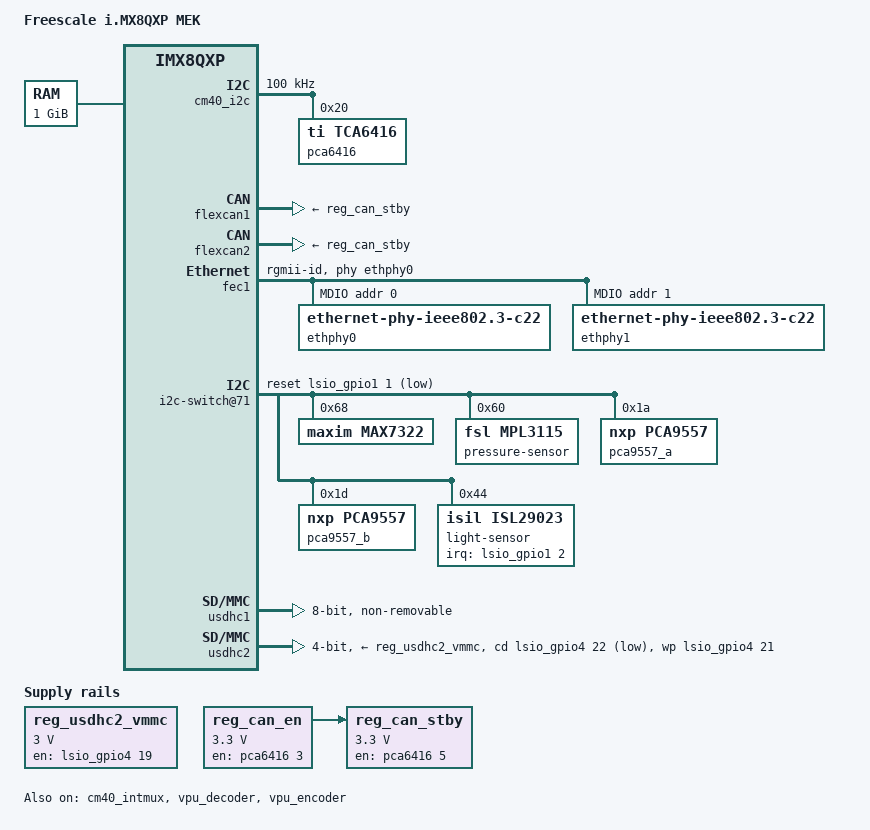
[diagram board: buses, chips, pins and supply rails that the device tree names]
// SPDX-License-Identifier: GPL-2.0+
/*
 * Copyright 2017~2018 NXP
 */

/dts-v1/;

#include "imx8qxp.dtsi"

/ {
	model = "Freescale i.MX8QXP MEK";
	compatible = "fsl,imx8qxp-mek", "fsl,imx8qxp";

	chosen {
		stdout-path = &adma_lpuart0;
	};

	memory@80000000 {
		device_type = "memory";
		reg = <0x00000000 0x80000000 0 0x40000000>;
	};

	reserved-memory {
		#address-cells = <2>;
		#size-cells = <2>;
		ranges;

		/*
		* reserved-memory layout
		* 0x88000000 ~ 0x8fffffff is reserved for M4
		* Shouldn't be used at A core and Linux side.
		*
		*/
		decoder_boot: decoder-boot@84000000 {
			reg = <0 0x84000000 0 0x2000000>;
			no-map;
		};

		encoder_boot: encoder-boot@86000000 {
			reg = <0 0x86000000 0 0x200000>;
			no-map;
		};

		decoder_rpc: decoder-rpc@0x92000000 {
			reg = <0 0x92000000 0 0x200000>;
			no-map;
		};

		encoder_rpc: encoder-rpc@0x92200000 {
			reg = <0 0x92200000 0 0x200000>;
			no-map;
		};
		/* global autoconfigured region for contiguous allocations */
		linux,cma {
			compatible = "shared-dma-pool";
			reusable;
			size = <0 0x3c000000>;
			alloc-ranges = <0 0x96000000 0 0x3c000000>;
			linux,cma-default;
		};
	};

	reg_usdhc2_vmmc: usdhc2-vmmc {
		compatible = "regulator-fixed";
		regulator-name = "SD1_SPWR";
		regulator-min-microvolt = <3000000>;
		regulator-max-microvolt = <3000000>;
		gpio = <&lsio_gpio4 19 GPIO_ACTIVE_HIGH>;
		enable-active-high;
	};

	reg_can_en: regulator-can-en {
		compatible = "regulator-fixed";
		regulator-name = "can-en";
		regulator-min-microvolt = <3300000>;
		regulator-max-microvolt = <3300000>;
		gpio = <&pca6416 3 GPIO_ACTIVE_HIGH>;
		enable-active-high;
	};

	reg_can_stby: regulator-can-stby {
		compatible = "regulator-fixed";
		regulator-name = "can-stby";
		regulator-min-microvolt = <3300000>;
		regulator-max-microvolt = <3300000>;
		gpio = <&pca6416 5 GPIO_ACTIVE_HIGH>;
		enable-active-high;
		vin-supply = <&reg_can_en>;
	};
};

&cm40_i2c {
	#address-cells = <1>;
	#size-cells = <0>;
	clock-frequency = <100000>;
	pinctrl-names = "default";
	pinctrl-0 = <&pinctrl_cm40_i2c>;
	status = "okay";

	pca6416: gpio@20 {
		compatible = "ti,tca6416";
		reg = <0x20>;
		gpio-controller;
		#gpio-cells = <2>;
	};
};

&cm40_intmux {
	status = "okay";
};

&adma_lpuart0 {
	pinctrl-names = "default";
	pinctrl-0 = <&pinctrl_lpuart0>;
	status = "okay";
};

&flexcan1 {
	pinctrl-names = "default";
	pinctrl-0 = <&pinctrl_flexcan1>;
	xceiver-supply = <&reg_can_stby>;
	status = "okay";
};

&flexcan2 {
	pinctrl-names = "default";
	pinctrl-0 = <&pinctrl_flexcan2>;
	xceiver-supply = <&reg_can_stby>;
	status = "okay";
};

&fec1 {
	pinctrl-names = "default";
	pinctrl-0 = <&pinctrl_fec1>;
	phy-mode = "rgmii-id";
	phy-handle = <&ethphy0>;
	fsl,magic-packet;
	status = "okay";

	mdio {
		#address-cells = <1>;
		#size-cells = <0>;

		ethphy0: ethernet-phy@0 {
			compatible = "ethernet-phy-ieee802.3-c22";
			reg = <0>;
		};

		ethphy1: ethernet-phy@1 {
			compatible = "ethernet-phy-ieee802.3-c22";
			reg = <1>;
		};
	};
};

&adma_i2c1 {
	#address-cells = <1>;
	#size-cells = <0>;
	clock-frequency = <100000>;
	pinctrl-names = "default";
	pinctrl-0 = <&pinctrl_lpi2c1 &pinctrl_ioexp_rst>;
	status = "okay";

	i2c-switch@71 {
		compatible = "nxp,pca9646", "nxp,pca9546";
		#address-cells = <1>;
		#size-cells = <0>;
		reg = <0x71>;
		reset-gpios = <&lsio_gpio1 1 GPIO_ACTIVE_LOW>;

		i2c@0 {
			#address-cells = <1>;
			#size-cells = <0>;
			reg = <0>;

			max7322: gpio@68 {
				compatible = "maxim,max7322";
				reg = <0x68>;
				gpio-controller;
				#gpio-cells = <2>;
			};
		};

		i2c@1 {
			#address-cells = <1>;
			#size-cells = <0>;
			reg = <1>;
		};

		i2c@2 {
			#address-cells = <1>;
			#size-cells = <0>;
			reg = <2>;

			pressure-sensor@60 {
				compatible = "fsl,mpl3115";
				reg = <0x60>;
			};
		};

		i2c@3 {
			#address-cells = <1>;
			#size-cells = <0>;
			reg = <3>;

			pca9557_a: gpio@1a {
				compatible = "nxp,pca9557";
				reg = <0x1a>;
				gpio-controller;
				#gpio-cells = <2>;
			};

			pca9557_b: gpio@1d {
				compatible = "nxp,pca9557";
				reg = <0x1d>;
				gpio-controller;
				#gpio-cells = <2>;
			};

			light-sensor@44 {
				pinctrl-names = "default";
				pinctrl-0 = <&pinctrl_isl29023>;
				compatible = "isil,isl29023";
				reg = <0x44>;
				interrupt-parent = <&lsio_gpio1>;
				interrupts = <2 IRQ_TYPE_EDGE_FALLING>;
			};
		};
	};
};

&usdhc1 {
	pinctrl-names = "default";
	pinctrl-0 = <&pinctrl_usdhc1>;
	bus-width = <8>;
	no-sd;
	no-sdio;
	non-removable;
	status = "okay";
};

&usdhc2 {
	pinctrl-names = "default";
	pinctrl-0 = <&pinctrl_usdhc2>;
	bus-width = <4>;
	vmmc-supply = <&reg_usdhc2_vmmc>;
	cd-gpios = <&lsio_gpio4 22 GPIO_ACTIVE_LOW>;
	wp-gpios = <&lsio_gpio4 21 GPIO_ACTIVE_HIGH>;
	status = "okay";
};

&vpu_decoder {
	boot-region = <&decoder_boot>;
	rpc-region = <&decoder_rpc>;
	reg-csr = <0x2d040000>;
	core_type = <1>;
	status = "okay";
};

&vpu_encoder {
	boot-region = <&encoder_boot>;
	rpc-region = <&encoder_rpc>;
	reg-rpc-system = <0x40000000>;
	resolution-max = <1920 1080>;
	fps-max = <120>;
	status = "okay";

	core0@1020000 {
		compatible = "fsl,imx8-mu1-vpu-m0";
		reg = <0x1020000 0x20000>;
		reg-csr = <0x1050000 0x10000>;
		interrupts = <GIC_SPI 470 IRQ_TYPE_LEVEL_HIGH>;
		fsl,vpu_ap_mu_id = <17>;
		fw-buf-size = <0x200000>;
		rpc-buf-size = <0x80000>;
		print-buf-size = <0x80000>;
	};
};

&iomuxc {
	pinctrl_cm40_i2c: cm40i2cgrp {
		fsl,pins = <
			IMX8QXP_ADC_IN1_M40_I2C0_SDA                            0x0600004c
			IMX8QXP_ADC_IN0_M40_I2C0_SCL                            0x0600004c
		>;
	};

	pinctrl_fec1: fec1grp {
		fsl,pins = <
			IMX8QXP_ENET0_MDC_CONN_ENET0_MDC			0x06000020
			IMX8QXP_ENET0_MDIO_CONN_ENET0_MDIO			0x06000020
			IMX8QXP_ENET0_RGMII_TX_CTL_CONN_ENET0_RGMII_TX_CTL	0x06000020
			IMX8QXP_ENET0_RGMII_TXC_CONN_ENET0_RGMII_TXC		0x06000020
			IMX8QXP_ENET0_RGMII_TXD0_CONN_ENET0_RGMII_TXD0		0x06000020
			IMX8QXP_ENET0_RGMII_TXD1_CONN_ENET0_RGMII_TXD1		0x06000020
			IMX8QXP_ENET0_RGMII_TXD2_CONN_ENET0_RGMII_TXD2		0x06000020
			IMX8QXP_ENET0_RGMII_TXD3_CONN_ENET0_RGMII_TXD3		0x06000020
			IMX8QXP_ENET0_RGMII_RXC_CONN_ENET0_RGMII_RXC		0x06000020
			IMX8QXP_ENET0_RGMII_RX_CTL_CONN_ENET0_RGMII_RX_CTL	0x06000020
			IMX8QXP_ENET0_RGMII_RXD0_CONN_ENET0_RGMII_RXD0		0x06000020
			IMX8QXP_ENET0_RGMII_RXD1_CONN_ENET0_RGMII_RXD1		0x06000020
			IMX8QXP_ENET0_RGMII_RXD2_CONN_ENET0_RGMII_RXD2		0x06000020
			IMX8QXP_ENET0_RGMII_RXD3_CONN_ENET0_RGMII_RXD3		0x06000020
		>;
	};

	pinctrl_ioexp_rst: ioexp_rst_grp {
		fsl,pins = <
			IMX8QXP_SPI2_SDO_LSIO_GPIO1_IO01			0x06000021
		>;
	};

	pinctrl_isl29023: isl29023grp {
		fsl,pins = <
			IMX8QXP_SPI2_SDI_LSIO_GPIO1_IO02			0x00000021
		>;
	};

	pinctrl_lpi2c1: lpi2c1grp {
		fsl,pins = <
			IMX8QXP_USB_SS3_TC1_ADMA_I2C1_SCL			0x06000021
			IMX8QXP_USB_SS3_TC3_ADMA_I2C1_SDA			0x06000021
		>;
	};

	pinctrl_flexcan1: flexcan0grp {
		fsl,pins = <
			IMX8QXP_FLEXCAN0_TX_ADMA_FLEXCAN0_TX            0x21
			IMX8QXP_FLEXCAN0_RX_ADMA_FLEXCAN0_RX            0x21
		>;
	};

	pinctrl_flexcan2: flexcan1grp {
		fsl,pins = <
			IMX8QXP_FLEXCAN1_TX_ADMA_FLEXCAN1_TX            0x21
			IMX8QXP_FLEXCAN1_RX_ADMA_FLEXCAN1_RX            0x21
			>;
	};

	pinctrl_lpuart0: lpuart0grp {
		fsl,pins = <
			IMX8QXP_UART0_RX_ADMA_UART0_RX				0x06000020
			IMX8QXP_UART0_TX_ADMA_UART0_TX				0x06000020
		>;
	};

	pinctrl_usdhc1: usdhc1grp {
		fsl,pins = <
			IMX8QXP_EMMC0_CLK_CONN_EMMC0_CLK			0x06000041
			IMX8QXP_EMMC0_CMD_CONN_EMMC0_CMD			0x00000021
			IMX8QXP_EMMC0_DATA0_CONN_EMMC0_DATA0			0x00000021
			IMX8QXP_EMMC0_DATA1_CONN_EMMC0_DATA1			0x00000021
			IMX8QXP_EMMC0_DATA2_CONN_EMMC0_DATA2			0x00000021
			IMX8QXP_EMMC0_DATA3_CONN_EMMC0_DATA3			0x00000021
			IMX8QXP_EMMC0_DATA4_CONN_EMMC0_DATA4			0x00000021
			IMX8QXP_EMMC0_DATA5_CONN_EMMC0_DATA5			0x00000021
			IMX8QXP_EMMC0_DATA6_CONN_EMMC0_DATA6			0x00000021
			IMX8QXP_EMMC0_DATA7_CONN_EMMC0_DATA7			0x00000021
			IMX8QXP_EMMC0_STROBE_CONN_EMMC0_STROBE			0x00000041
		>;
	};

	pinctrl_usdhc2: usdhc2grp {
		fsl,pins = <
			IMX8QXP_USDHC1_CLK_CONN_USDHC1_CLK			0x06000041
			IMX8QXP_USDHC1_CMD_CONN_USDHC1_CMD			0x00000021
			IMX8QXP_USDHC1_DATA0_CONN_USDHC1_DATA0			0x00000021
			IMX8QXP_USDHC1_DATA1_CONN_USDHC1_DATA1			0x00000021
			IMX8QXP_USDHC1_DATA2_CONN_USDHC1_DATA2			0x00000021
			IMX8QXP_USDHC1_DATA3_CONN_USDHC1_DATA3			0x00000021
			IMX8QXP_USDHC1_VSELECT_CONN_USDHC1_VSELECT		0x00000021
		>;
	};
};

&adma_dsp {
	status = "okay";
};
